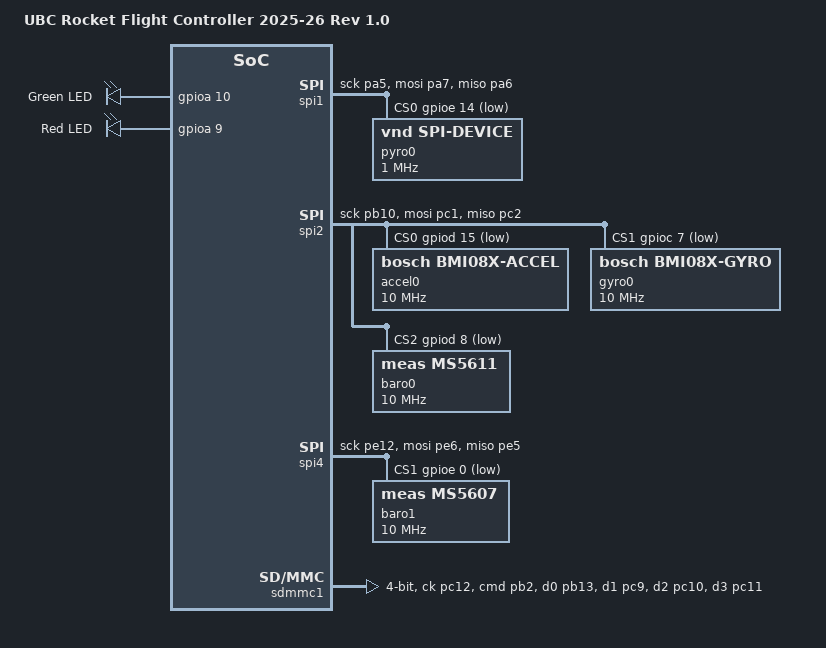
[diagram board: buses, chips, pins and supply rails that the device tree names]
/dts-v1/;
#include "ubcrocket_fc_2526_r1-common.dtsi"

/ {
	model = "UBC Rocket Flight Controller 2025-26 Rev 1.0";
	compatible = "ubcrocket,ubcrocket_fc_2526_r1";

	#address-cells = <1>;
	#size-cells = <1>;

	chosen {
		zephyr,console = &usart1;
		zephyr,shell-uart = &usart1;
		zephyr,sram = &sram1;
		zephyr,flash = &flash0;
		zephyr,code-partition = &slot0_partition;
	};

    leds {
		compatible = "gpio-leds";

		green_led: green-led {
			gpios = <&gpioa 10 GPIO_ACTIVE_HIGH>;
			label = "Green LED";
		};

        red_led: red-led {
			gpios = <&gpioa 9 GPIO_ACTIVE_HIGH>;
			label = "Red LED";
		};
	};

    

	aliases {
        led0 = &green_led;
        led1 = &red_led;
        accel0 = &accel0;
        gyro0 = &gyro0;
        baro0 = &baro0;
        baro1 = &baro1;
        pyro0 = &pyro0;
    };
};

// Enable and configure SPI2
&spi1 {
    status = "okay";
    pinctrl-0 = <&spi1_sck_pa5 &spi1_mosi_pa7 &spi1_miso_pa6>;
    pinctrl-names = "default";

    // Chip select pin for Pyro board on PE14 (i think)
    cs-gpios = <&gpioe 14 (GPIO_ACTIVE_LOW | GPIO_PULL_UP)>;
    pyro0: pyro0@0 {
        status = "okay";
        compatible = "vnd,spi-device"; //  TODO: Could write a custom binding instead of using this test one with raw spi commands
        reg = <0>;
        spi-max-frequency = <1000000>;
    };
};

// Enable and configure SPI2
&spi2 {
    status = "okay";
    pinctrl-0 = <&spi2_sck_pb10 &spi2_mosi_pc1 &spi2_miso_pc2>;
    pinctrl-names = "default";

    // Chip select pins: Accel on PD15, Gyro on PC7, Baro on PD8
    cs-gpios = <&gpiod 15 (GPIO_ACTIVE_LOW | GPIO_PULL_UP)>, <&gpioc 7 (GPIO_ACTIVE_LOW | GPIO_PULL_UP)>, <&gpiod 8 (GPIO_ACTIVE_LOW | GPIO_PULL_UP)>;

    // BMI088 Accelerometer
    accel0: bmi088-accel@0 {
        status = "okay";
        compatible = "bosch,bmi08x-accel";
        reg = <0>;
        spi-max-frequency = <10000000>;

        // Required properties:  https://docs.zephyrproject.org/latest/build/dts/api/bindings/sensor/bosch%2Cbmi08x-accel-spi.html
        accel-hz = "400";
        accel-fs = <24>;
        
        // Interrupt pins
        // int-gpios = <&gpiod 12 GPIO_ACTIVE_HIGH>;
        // int2-gpios = <&gpiod 14 GPIO_ACTIVE_HIGH>;
    };

    // BMI088 Gyroscope
    gyro0: bmi088-gyro@1 {
        status = "okay";
        compatible = "bosch,bmi08x-gyro";
        reg = <1>;
        spi-max-frequency = <10000000>;
        
        // Required properties: https://docs.zephyrproject.org/latest/build/dts/api/bindings/sensor/bosch%2Cbmi08x-gyro-spi.html
        gyro-hz = "1000_116";
        gyro-fs = <2000>;

        // Interrupt pins
        // int-gpios = <&gpiod 11 GPIO_ACTIVE_HIGH>;
        // int4-gpios = <&gpiod 10 GPIO_ACTIVE_HIGH>;
    };

    //MS5611 Barometer (same driver as ms5607)
    baro0: ms5611@2 {
        status = "okay";
        compatible = "meas,ms5611";
        reg = <2>;
        spi-max-frequency = <10000000>;
    };
};

// Enable and configure SPI4
&spi4 {
    status = "okay";
    pinctrl-0 = <&spi4_sck_pe12 &spi4_mosi_pe6 &spi4_miso_pe5>;
    pinctrl-names = "default";
    cs-gpios = <&gpiod 8 (GPIO_ACTIVE_LOW | GPIO_PULL_UP)>, <&gpioe 0 (GPIO_ACTIVE_LOW | GPIO_PULL_UP)>;
    
    baro1: ms5607@1 {
        status = "okay";
        compatible = "meas,ms5607";
        reg = <1>;
        spi-max-frequency = <10000000>;
    };
};

// Enable and configure SDMMC1
&sdmmc1 {
    status = "okay";
    disk-name = "SDMMC";
    bus-width = <4>;
    pinctrl-0 = <&sdmmc1_ck_pc12 &sdmmc1_cmd_pb2 &sdmmc1_d0_pb13 &sdmmc1_d1_pc9 &sdmmc1_d2_pc10 &sdmmc1_d3_pc11>;
    pinctrl-names = "default";
    clk-div = <2>;  // Set clock divider to reduce frequency
};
